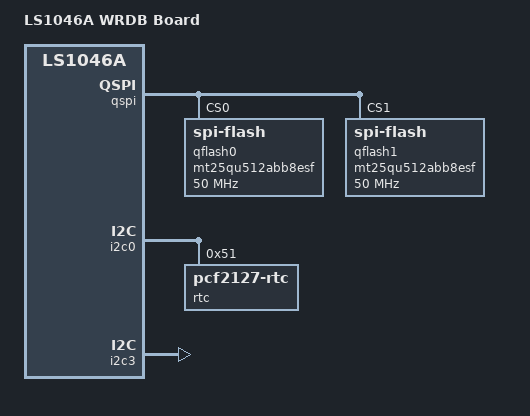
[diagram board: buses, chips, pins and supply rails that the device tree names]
// SPDX-License-Identifier: GPL-2.0+
/*
 * Device Tree Include file for Layerscape-1046AWRDB board.
 *
 * Copyright 2020 NXP
 *
 * Yuantian Tang <andy.tang@nxp.com>
 */

/dts-v1/;
/include/ "fsl-ls1046a.dtsi"

/ {
	model = "LS1046A WRDB Board";

	aliases {
		spi0 = &qspi;
	};

};

&qspi {
	bus-num = <0>;
	status = "okay";

	qflash0: mt25qu512abb8esf@0 {
		#address-cells = <1>;
		#size-cells = <1>;
		compatible = "spi-flash";
		spi-max-frequency = <50000000>;
		reg = <0>;
	};

	qflash1: mt25qu512abb8esf@1 {
		#address-cells = <1>;
		#size-cells = <1>;
		compatible = "spi-flash";
		spi-max-frequency = <50000000>;
		reg = <1>;
	};
};

&i2c0 {
	status = "okay";

	rtc@51 {
		compatible = "pcf2127-rtc";
		reg = <0x51>;
	};
};

&i2c3 {
	status = "okay";
};
